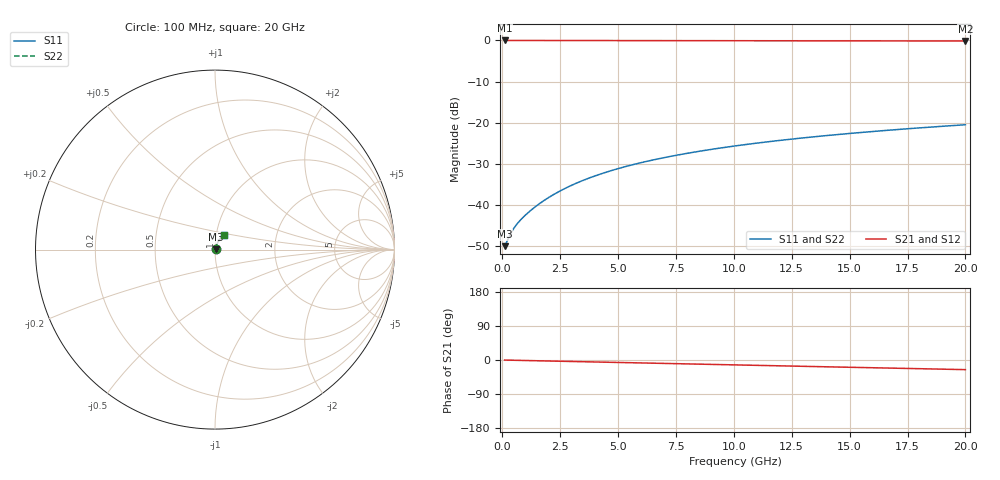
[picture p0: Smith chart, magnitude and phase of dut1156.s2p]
! Touchstone file exported from HFSS 2026.1.0
!  File:  C:/ffzhzh/LocalFiles/Ansys_Project_Files/temp_train_BSMRDL_1156_1783175724_43440.aedt
!  Generated:  10:36:30 PM Jul  4, 2026
!  Design:  BSMRDL
!  Project:  temp_train_BSMRDL_1156_1783175724_43440
! Variables:
!  h_bsmrdl = 3.13um
!  h_ox = 20um
!  h_rdl = 5um
!  h_sub = 80um
!  h_tmrdl = 5um
!  h_tsv = 80um
!  h_via = 3um
!  l_bsmrdl = 438.74um
!  l_sub = 838.74um
!  l_tmrdl = 200um
!  m_sub = 200um
!  pitch = 23.51um
!  r_tsv = 6um
!  s_tmrdl = 10um
!  w_bsmrdl = 17.48um
!  w_sub = 500um
!  w_tmrdl = 12um
!  x_tsv_center1 = 206um
!  x_tsv_center2 = 662.22um
!  x_tsv_center3 = 874.22um
!  x_tsv_center4 = 1330.44um
!  x_tsv_center5 = 1542.44um
!  x_tsv_center6 = 1998.66um
# GHz S MA R 50.000000
! Terminal data exported
! Port[1] = BSM_RDL1_1_T1
! Port[2] = BSM_RDL1_1_T2
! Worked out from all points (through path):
!   200 points, 100 MHz to 20 GHz, reference 50 ohm
!   highest |S21| = -0.03 dB at 100 MHz (marker M1); lowest = -0.2 dB at 20 GHz (marker M2)
!   group delay of S21, straight-line fit = 3.52 ps
!   lowest |S11| = -50.0 dB at 100 MHz (marker M3), VSWR 1.01, Z = 50.3 + j0.0859 ohm
!   |S11| at or under -10 dB: start of sweep to end of sweep
!   |S22| runs from -50.0 to -20.5 dB; largest |S21 - S12| = 2.7e-15
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0.1  0.003172 15.6  0.9969 -0.1  0.9969 -0.1  0.003172 15.6
! Gamma 0 0 0 0
! Port Impedance 50 0 50 0
0.3  0.00416 34.4  0.9966 -0.4  0.9966 -0.4  0.00416 34.4
0.4  0.00471 39.2  0.9964 -0.6  0.9964 -0.6  0.00471 39.1
0.5  0.005232 42.6  0.9962 -0.7  0.9962 -0.7  0.005231 42.6
0.6  0.005726 45.3  0.996 -0.8  0.996 -0.8  0.005724 45.3
0.7  0.006198 47.7  0.9959 -1.0  0.9959 -1.0  0.006197 47.7
0.9  0.007115 51.7  0.9957 -1.2  0.9957 -1.2  0.007113 51.7
1.2  0.008488 56.5  0.9955 -1.6  0.9955 -1.6  0.008486 56.5
1.7  0.01087 62.1  0.9953 -2.3  0.9953 -2.3  0.01087 62.1
2.2  0.01335 65.6  0.9951 -2.9  0.9951 -2.9  0.01335 65.7
2.8  0.0164 68.2  0.9948 -3.7  0.9948 -3.7  0.0164 68.2
3.5  0.02001 69.8  0.9944 -4.6  0.9944 -4.6  0.02001 69.8
4.2  0.02362 70.5  0.994 -5.5  0.994 -5.5  0.02362 70.5
5  0.02772 70.7  0.9935 -6.5  0.9935 -6.5  0.02772 70.8
5.9  0.03228 70.5  0.9929 -7.7  0.9929 -7.7  0.03228 70.5
6.8  0.03675 70.0  0.9922 -8.8  0.9922 -8.8  0.03675 70.0
8.3  0.04404 68.8  0.991 -10.8  0.991 -10.8  0.04404 68.8
10.1  0.05248 67.0  0.9896 -13.0  0.9896 -13.0  0.05248 67.1
11.7  0.05974 65.4  0.9883 -15.1  0.9883 -15.1  0.05974 65.4
13.4  0.06723 63.6  0.987 -17.2  0.987 -17.2  0.06723 63.6
16.7  0.08119 60.0  0.9844 -21.3  0.9844 -21.3  0.08119 60.1
20  0.09446 56.4  0.982 -25.4  0.982 -25.4  0.09447 56.5
